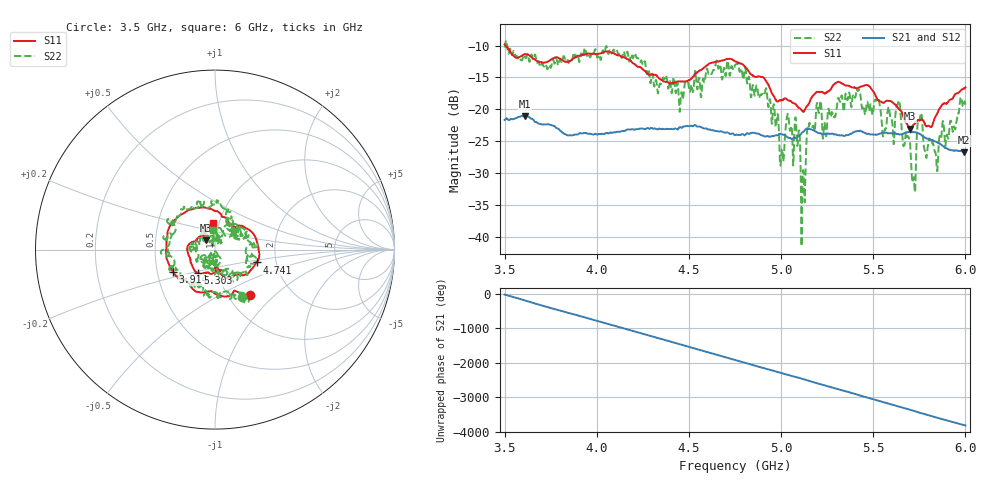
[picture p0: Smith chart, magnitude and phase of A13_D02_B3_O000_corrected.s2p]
! Created with skrf 1.9.0 (http://scikit-rf.org).
# Hz S RI R 50.0
!freq ReS11 ImS11 ReS21 ImS21 ReS12 ImS12 ReS22 ImS22
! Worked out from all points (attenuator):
!   1601 points, 3.5 GHz to 6 GHz, reference 50 ohm
!   highest |S21| = -21.04 dB at 3.611 GHz (marker M1); lowest = -26.7 dB at 5.992 GHz (marker M2)
!   lowest |S11| = -23.0 dB at 5.7 GHz (marker M3), VSWR 1.15, Z = 45.2 + j4.67 ohm
!   |S11| at or under -10 dB: 3.505 GHz to end of sweep
!   |S22| runs from -41.5 to -9.2 dB; largest |S21 - S12| = 0.00095
!   S11 on the Smith chart (normalised r, x): 3.5 GHz: 1.26, -0.72; 3.914 GHz: 0.60, -0.16; 4.741 GHz: 1.58, -0.24; 5.303 GHz: 0.80, -0.21; 6 GHz: 0.94, +0.29
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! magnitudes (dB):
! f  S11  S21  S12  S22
! 3.5 GHz  -9.9  -21.7  -21.6  -10.3
! 3.611 GHz  -11.4  -21.0  -21.1  -11.8
! 3.914 GHz  -11.5  -23.8  -23.7  -11.3
! 3.917 GHz  -11.5  -23.8  -23.8  -11.2
! 4.334 GHz  -15.1  -23.1  -23.0  -17.2
! 4.741 GHz  -12.3  -23.8  -23.9  -13.8
! 4.75 GHz  -12.5  -24.0  -24.0  -13.1
! 4.928 GHz  -16.0  -24.2  -24.2  -19.2
! 5.005 GHz  -18.5  -23.9  -23.9  -26.2
! 5.034 GHz  -18.5  -24.4  -24.3  -20.9
! 5.088 GHz  -19.5  -24.4  -24.4  -25.7
! 5.119 GHz  -20.3  -23.6  -23.5  -29.6
! 5.167 GHz  -18.1  -23.2  -23.2  -22.8
! 5.303 GHz  -15.7  -24.0  -24.0  -19.6
! 5.584 GHz  -18.7  -23.8  -23.7  -19.6
! 5.638 GHz  -19.9  -23.9  -23.8  -18.7
! 5.7 GHz  -23.0  -23.6  -23.5  -25.4
! 5.719 GHz  -22.4  -23.6  -23.5  -30.7
! 5.752 GHz  -21.7  -23.9  -23.8  -21.6
! 5.842 GHz  -20.9  -25.1  -25.1  -28.0
! 5.992 GHz  -16.7  -26.7  -26.7  -19.0
! 6 GHz  -16.6  -26.7  -26.7  -19.3
